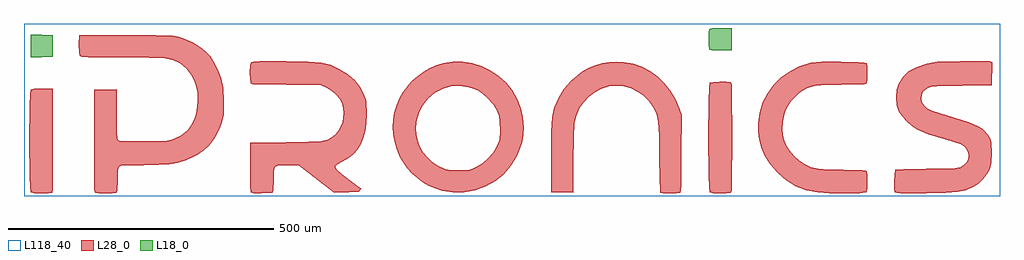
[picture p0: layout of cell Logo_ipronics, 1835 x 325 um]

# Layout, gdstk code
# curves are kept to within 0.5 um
import gdstk
lib = gdstk.Library(unit=1e-6, precision=1e-09)
def R(c, l, rs):  # rectangles x0, y0, x1, y1
    for r in rs: c.add(gdstk.rectangle(r[:2], r[2:], *l))
def P(c, l, *ps):  # polygons
    for p in ps: c.add(gdstk.Polygon(p, *l))
L18_0 = (18, 0)
L28_0 = (28, 0)
L118_40 = (118, 40)

logo_ipronics = lib.new_cell('Logo_ipronics')
P(logo_ipronics, L18_0, [(574.976,74.464),(557.807,74.571),(554.508,75.371),(553.19,76.829),(552.156,96.29),(553.6,114.582),(555.334,115.63),(559.232,116.248),(595.654,115.859),(595.654,74.961)],
  [(-722.729,61.514),(-722.729,104.414),(-701.844,103.91),(-680.951,103.413),(-680.951,62.515),(-701.844,62.018)],
  [(574.976,74.464),(557.807,74.571),(554.508,75.371),(553.19,76.829),(552.156,96.29),(553.6,114.582),(555.334,115.63),(559.232,116.248),(595.654,115.859),(595.654,74.961)])
P(logo_ipronics, L28_0, [(-288.826,-194.404),(-302.723,-193.846),(-308.273,-191.964),(-309.705,-179.458),(-309.348,-99.282),(-199.631,-97.542),(-176.34,-96.15),(-163.968,-93.16),(-154.567,-87.596),(-148.344,-82.368),(-143.156,-75.957),(-139.05,-68.585),(-136.107,-60.461),(-134.366,-51.819),(-133.91,-42.861),(-134.783,-33.822),(-137.054,-24.905),(-141.295,-16.592),(-147.995,-8.441),(-156.408,-1.19),(-165.823,4.408),(-175.997,9.179),(-293.194,10.59),(-304.772,11.342),(-308.824,12.371),(-310.209,32.517),(-309.671,47.073),(-307.662,52.657),(-303.267,53.632),(-291.944,54.176),(-242.323,54.082),(-200.666,53.356),(-176.004,51.548),(-159.466,47.362),(-142.216,39.513),(-126.007,30.011),(-113.051,18.856),(-102.87,5.557),(-95.008,-10.383),(-92.803,-16.754),(-91.547,-23.185),(-90.908,-44.165),(-91.567,-62.04),(-93.516,-76.844),(-96.996,-89.773),(-102.238,-101.997),(-108.239,-111.942),(-115.537,-120.282),(-124.535,-127.385),(-146.126,-139.414),(-148.814,-141.874),(-149.822,-144.333),(-149.15,-147.001),(-146.819,-150.099),(-137.243,-158.445),(-101.176,-185.876),(-105.35,-191.38),(-151.677,-192.717),(-218.165,-141.067),(-254.285,-141.437),(-259.231,-142.424),(-262.504,-144.414),(-264.459,-147.76),(-265.427,-152.807),(-266.307,-188.221),(-267.16,-191.904),(-268.598,-193.322)],
  [(479.216,-194.343),(467.026,-194.128),(460.817,-193.221),(459.077,-85.237),(457.793,-59.278),(454.252,-45.374),(448.318,-32.559),(440.268,-21.068),(430.389,-11.129),(418.952,-2.991),(406.251,3.117),(392.549,6.954),(378.134,8.292),(364.116,6.867),(350.69,2.781),(338.157,-3.697),(326.82,-12.278),(316.996,-22.688),(308.992,-34.656),(303.119,-47.894),(299.678,-62.141),(298.415,-88.174),(297.837,-192.737),(256.052,-191.736),(256.308,-77.55),(257.934,-50.77),(259.674,-41.423),(262.255,-33.137),(270.581,-14.832),(280.177,1.733),(294.134,17.202),(304.779,26.785),(315.92,34.896),(327.546,41.536),(339.642,46.696),(352.202,50.372),(365.205,52.563),(378.638,53.262),(392.488,52.462),(410.088,49.203),(426.733,43.491),(442.256,35.474),(456.469,25.293),(469.204,13.103),(480.285,-0.955),(489.532,-16.734),(496.769,-34.085),(501.426,-47.72),(500.277,-176.958),(499.518,-188.886),(498.382,-192.898),(491.595,-193.92)],
  [(-702.784,-194.384),(-715.6,-193.725),(-722.373,-192.274),(-723.468,-183.107),(-724.745,-95.411),(-723.16,-7.957),(-722.03,1.021),(-715.29,2.432),(-680.951,2.062),(-680.582,-171.999),(-681.193,-187.832),(-682.268,-192.925),(-689.741,-194.148)],
  [(808.86,-194.222),(778.781,-193.832),(756.9,-192.495),(735.706,-188.08),(716.278,-180.514),(698.362,-169.667),(681.71,-155.414),(667.686,-139.871),(658.116,-123.286),(651.47,-107.729),(647.163,-92.818),(645.073,-78.027),(645.093,-62.833),(648.104,-42.424),(654.199,-23.286),(663.17,-5.659),(674.802,10.207),(688.887,24.07),(705.21,35.676),(723.562,44.788),(743.722,51.152),(765.307,52.758),(800.533,53.154),(833.737,52.422),(849.253,50.634),(850.503,43.397),(850.765,30.938),(850.127,18.721),(848.662,12.203),(845.242,11.215),(836.794,10.55),(762.545,9.474),(752.989,8.406),(745.524,6.544),(736.848,3.198),(728.562,-1.291),(720.807,-6.802),(713.691,-13.212),(707.34,-20.396),(701.884,-28.238),(697.428,-36.605),(694.109,-45.381),(691.179,-59.809),(690.796,-74.734),(692.906,-89.256),(697.455,-102.481),(703.826,-113.226),(712.414,-123.629),(722.333,-132.761),(732.688,-139.676),(744.569,-145.072),(757.861,-148.184),(776.805,-149.608),(841.411,-150.442),(847.714,-151.288),(849.717,-152.766),(850.725,-160.864),(850.786,-173.666),(850.053,-185.903),(848.662,-192.274),(835.908,-193.691)],
  [(572.826,-194.397),(560.596,-193.664),(554.225,-192.274),(553.21,-182.684),(551.914,-89.504),(553.21,3.675),(554.225,13.264),(560.596,14.662),(585.634,15.328),(593.725,14.32),(595.231,10.637),(596.077,-3.435),(596.541,-89.504),(596.077,-175.568),(595.231,-189.639),(593.725,-193.322),(585.634,-194.33)],
  [(71.42,-192.388),(51.099,-189.041),(38.425,-184.962),(26.295,-179.559),(14.824,-172.92),(4.153,-165.165),(-5.604,-156.389),(-14.307,-146.685),(-21.847,-136.175),(-28.083,-124.939),(-34.084,-110.794),(-38.371,-96.876),(-40.958,-83.134),(-41.825,-69.499),(-40.992,-55.918),(-38.445,-42.317),(-34.192,-28.642),(-28.224,-14.825),(-21.665,-3.213),(-13.353,8.11),(84.108,8.11),(67.549,6.928),(51.845,2.371),(37.457,-5.229),(24.85,-15.578),(14.488,-28.359),(6.841,-43.264),(2.372,-59.984),(1.411,-74.364),(2.957,-88.268),(6.868,-101.459),(13.003,-113.71),(21.215,-124.784),(31.362,-134.454),(43.304,-142.485),(56.892,-148.647),(67.865,-151.053),(84.773,-151.214),(102.655,-149.742),(115.886,-144.615),(127.418,-137.62),(137.901,-128.642),(146.872,-118.125),(153.888,-106.533),(159.036,-93.395),(160.628,-76.998),(159.916,-57.88),(158.303,-49.487),(155.776,-41.678),(152.282,-34.32),(147.759,-27.257),(135.415,-13.454),(127.485,-6.667),(119.549,-1.466),(110.954,2.512),(101.048,5.63),(84.108,8.11),(-13.353,8.11),(-4.818,17.498),(5.221,26.409),(16.182,34.224),(27.942,40.843),(40.374,46.179),(53.357,50.13),(71.494,52.966),(89.9,52.866),(108.172,50.003),(125.886,44.533),(142.625,36.61),(157.98,26.409),(171.535,14.084),(182.871,-0.209),(192.501,-16.935),(199.181,-33.789),(203.052,-51.288),(204.281,-69.942),(203.569,-84.202),(201.331,-97.313),(197.319,-110.29),(191.285,-124.173),(180.56,-142.391),(167.375,-157.921),(151.664,-170.81),(133.372,-181.125),(113.34,-188.349),(92.427,-192.132)],
  [(913.638,-194.155),(905.432,-193.389),(902.456,-191.864),(900.782,-185.621),(901.105,-170.333),(903.248,-149.944),(919.175,-148.634),(1011.084,-147.572),(1020.694,-146.544),(1026.332,-144.682),(1032.582,-140.778),(1037.091,-135.745),(1039.853,-129.946),(1040.868,-123.756),(1040.128,-117.52),(1037.615,-111.6),(1033.328,-106.365),(1027.26,-102.172),(965.516,-82.784),(943.212,-73.477),(933.912,-67.349),(924.329,-58.76),(915.869,-49.151),(909.948,-39.931),(905.957,-28.95),(905.137,-13.985),(906.017,0.96),(909.807,12.122),(917.65,24.722),(928.67,34.896),(943.421,43.041),(962.458,49.546),(971.322,51.528),(982.457,52.765),(1026.413,54.075),(1081.14,53.759),(1085.596,52.644),(1084.601,9.179),(981.12,6.847),(970.959,5.745),(965.133,4.058),(959.146,0.725),(955.12,-3.455),(952.849,-8.79),(952.136,-15.591),(953.212,-23.192),(957.439,-29.622),(962.707,-34.273),(971.611,-38.661),(1041.593,-60.898),(1059.858,-68.84),(1066.37,-72.966),(1071.578,-77.435),(1079.427,-88.16),(1082.29,-93.819),(1083.835,-99.128),(1084.554,-117.95),(1083.761,-136.47),(1080.462,-148.533),(1075.166,-158.674),(1067.916,-167.934),(1059.159,-175.83),(1049.368,-181.864),(1035.149,-188.013),(1020.096,-191.474),(997.577,-193.147)],
  [(-582.261,-194.343),(-601.4,-192.932),(-602.468,-187.872),(-603.086,-172.174),(-602.717,0.288),(-560.932,1.29),(-560.932,-44.655),(-559.736,-89.921),(-558.654,-93.718),(-556.114,-95.391),(-549.266,-96.258),(-508.428,-96.278),(-465.246,-95.19),(-456.933,-93.711),(-440.664,-85.902),(-433.024,-80.513),(-426.599,-74.163),(-420.632,-66.206),(-415.142,-55.972),(-411.197,-44.346),(-408.818,-31.786),(-407.992,-18.75),(-408.724,-5.679),(-411.016,6.954),(-414.866,18.708),(-420.289,29.124),(-429.731,41.092),(-440.785,50.016),(-453.869,56.152),(-469.419,59.767),(-499.652,61.044),(-614.531,62.092),(-626.15,62.858),(-630.121,64.108),(-631.526,70.646),(-631.163,103.413),(-487.019,103.212),(-455.119,101.747),(-444.851,100.141),(-436.39,97.728),(-418.905,89.866),(-409.248,84.496),(-400.432,78.26),(-392.435,71.137),(-385.244,63.114),(-378.847,54.169),(-373.236,44.284),(-368.384,33.438),(-364.278,21.624),(-360.212,3.843),(-359.278,-21.048),(-359.876,-45.408),(-363.29,-61.052),(-367.927,-73.699),(-373.585,-85.197),(-380.298,-95.566),(-388.087,-104.846),(-396.991,-113.058),(-407.024,-120.242),(-418.226,-126.411),(-430.618,-131.612),(-446.033,-136.524),(-461.503,-139.394),(-481.401,-140.731),(-546.981,-141.571),(-553.432,-142.552),(-556.214,-144.313),(-557.693,-146.866),(-558.587,-151.248),(-559.675,-188.302),(-560.536,-191.917),(-561.967,-193.328)],
  [(-288.826,-194.404),(-302.723,-193.846),(-308.273,-191.964),(-309.705,-179.458),(-309.348,-99.282),(-199.631,-97.542),(-176.34,-96.15),(-163.968,-93.16),(-154.567,-87.596),(-148.344,-82.368),(-143.156,-75.957),(-139.05,-68.585),(-136.107,-60.461),(-134.366,-51.819),(-133.91,-42.861),(-134.783,-33.822),(-137.054,-24.905),(-141.295,-16.592),(-147.995,-8.441),(-156.408,-1.19),(-165.823,4.408),(-175.997,9.179),(-293.194,10.59),(-304.772,11.342),(-308.824,12.371),(-310.209,32.517),(-309.671,47.073),(-307.662,52.657),(-303.267,53.632),(-291.944,54.176),(-242.323,54.082),(-200.666,53.356),(-176.004,51.548),(-159.466,47.362),(-142.216,39.513),(-126.007,30.011),(-113.051,18.856),(-102.87,5.557),(-95.008,-10.383),(-92.803,-16.754),(-91.547,-23.185),(-90.908,-44.165),(-91.567,-62.04),(-93.516,-76.844),(-96.996,-89.773),(-102.238,-101.997),(-108.239,-111.942),(-115.537,-120.282),(-124.535,-127.385),(-146.126,-139.414),(-148.814,-141.874),(-149.822,-144.333),(-149.15,-147.001),(-146.819,-150.099),(-137.243,-158.445),(-101.176,-185.876),(-105.35,-191.38),(-151.677,-192.717),(-218.165,-141.067),(-254.285,-141.437),(-259.231,-142.424),(-262.504,-144.414),(-264.459,-147.76),(-265.427,-152.807),(-266.307,-188.221),(-267.16,-191.904),(-268.598,-193.322)],
  [(-702.784,-194.384),(-715.6,-193.725),(-722.373,-192.274),(-723.468,-183.107),(-724.745,-95.411),(-723.16,-7.957),(-722.03,1.021),(-715.29,2.432),(-680.951,2.062),(-680.582,-171.999),(-681.193,-187.832),(-682.268,-192.925),(-689.741,-194.148)],
  [(572.826,-194.397),(560.596,-193.664),(554.225,-192.274),(553.21,-182.684),(551.914,-89.504),(553.21,3.675),(554.225,13.264),(560.596,14.662),(585.634,15.328),(593.725,14.32),(595.231,10.637),(596.077,-3.435),(596.541,-89.504),(596.077,-175.568),(595.231,-189.639),(593.725,-193.322),(585.634,-194.33)],
  [(71.42,-192.388),(51.099,-189.041),(38.425,-184.962),(26.295,-179.559),(14.824,-172.92),(4.153,-165.165),(-5.604,-156.389),(-14.307,-146.685),(-21.847,-136.175),(-28.083,-124.939),(-34.084,-110.794),(-38.371,-96.876),(-40.958,-83.134),(-41.825,-69.499),(-40.992,-55.918),(-38.445,-42.317),(-34.192,-28.642),(-28.224,-14.825),(-21.665,-3.213),(-13.353,8.11),(84.108,8.11),(67.549,6.928),(51.845,2.371),(37.457,-5.229),(24.85,-15.578),(14.488,-28.359),(6.841,-43.264),(2.372,-59.984),(1.411,-74.364),(2.957,-88.268),(6.868,-101.459),(13.003,-113.71),(21.215,-124.784),(31.362,-134.454),(43.304,-142.485),(56.892,-148.647),(67.865,-151.053),(84.773,-151.214),(102.655,-149.742),(115.886,-144.615),(127.418,-137.62),(137.901,-128.642),(146.872,-118.125),(153.888,-106.533),(159.036,-93.395),(160.628,-76.998),(159.916,-57.88),(158.303,-49.487),(155.776,-41.678),(152.282,-34.32),(147.759,-27.257),(135.415,-13.454),(127.485,-6.667),(119.549,-1.466),(110.954,2.512),(101.048,5.63),(84.108,8.11),(-13.353,8.11),(-4.818,17.498),(5.221,26.409),(16.182,34.224),(27.942,40.843),(40.374,46.179),(53.357,50.13),(71.494,52.966),(89.9,52.866),(108.172,50.003),(125.886,44.533),(142.625,36.61),(157.98,26.409),(171.535,14.084),(182.871,-0.209),(192.501,-16.935),(199.181,-33.789),(203.052,-51.288),(204.281,-69.942),(203.569,-84.202),(201.331,-97.313),(197.319,-110.29),(191.285,-124.173),(180.56,-142.391),(167.375,-157.921),(151.664,-170.81),(133.372,-181.125),(113.34,-188.349),(92.427,-192.132)],
  [(808.86,-194.222),(778.781,-193.832),(756.9,-192.495),(735.706,-188.08),(716.278,-180.514),(698.362,-169.667),(681.71,-155.414),(667.686,-139.871),(658.116,-123.286),(651.47,-107.729),(647.163,-92.818),(645.073,-78.027),(645.093,-62.833),(648.104,-42.424),(654.199,-23.286),(663.17,-5.659),(674.802,10.207),(688.887,24.07),(705.21,35.676),(723.562,44.788),(743.722,51.152),(765.307,52.758),(800.533,53.154),(833.737,52.422),(849.253,50.634),(850.503,43.397),(850.765,30.938),(850.127,18.721),(848.662,12.203),(845.242,11.215),(836.794,10.55),(762.545,9.474),(752.989,8.406),(745.524,6.544),(736.848,3.198),(728.562,-1.291),(720.807,-6.802),(713.691,-13.212),(707.34,-20.396),(701.884,-28.238),(697.428,-36.605),(694.109,-45.381),(691.179,-59.809),(690.796,-74.734),(692.906,-89.256),(697.455,-102.481),(703.826,-113.226),(712.414,-123.629),(722.333,-132.761),(732.688,-139.676),(744.569,-145.072),(757.861,-148.184),(776.805,-149.608),(841.411,-150.442),(847.714,-151.288),(849.717,-152.766),(850.725,-160.864),(850.786,-173.666),(850.053,-185.903),(848.662,-192.274),(835.908,-193.691)],
  [(479.216,-194.343),(467.026,-194.128),(460.817,-193.221),(459.077,-85.237),(457.793,-59.278),(454.252,-45.374),(448.318,-32.559),(440.268,-21.068),(430.389,-11.129),(418.952,-2.991),(406.251,3.117),(392.549,6.954),(378.134,8.292),(364.116,6.867),(350.69,2.781),(338.157,-3.697),(326.82,-12.278),(316.996,-22.688),(308.992,-34.656),(303.119,-47.894),(299.678,-62.141),(298.415,-88.174),(297.837,-192.737),(256.052,-191.736),(256.308,-77.55),(257.934,-50.77),(259.674,-41.423),(262.255,-33.137),(270.581,-14.832),(280.177,1.733),(294.134,17.202),(304.779,26.785),(315.92,34.896),(327.546,41.536),(339.642,46.696),(352.202,50.372),(365.205,52.563),(378.638,53.262),(392.488,52.462),(410.088,49.203),(426.733,43.491),(442.256,35.474),(456.469,25.293),(469.204,13.103),(480.285,-0.955),(489.532,-16.734),(496.769,-34.085),(501.426,-47.72),(500.277,-176.958),(499.518,-188.886),(498.382,-192.898),(491.595,-193.92)],
  [(913.638,-194.155),(905.432,-193.389),(902.456,-191.864),(900.782,-185.621),(901.105,-170.333),(903.248,-149.944),(919.175,-148.634),(1011.084,-147.572),(1020.694,-146.544),(1026.332,-144.682),(1032.582,-140.778),(1037.091,-135.745),(1039.853,-129.946),(1040.868,-123.756),(1040.128,-117.52),(1037.615,-111.6),(1033.328,-106.365),(1027.26,-102.172),(965.516,-82.784),(943.212,-73.477),(933.912,-67.349),(924.329,-58.76),(915.869,-49.151),(909.948,-39.931),(905.957,-28.95),(905.137,-13.985),(906.017,0.96),(909.807,12.122),(917.65,24.722),(928.67,34.896),(943.421,43.041),(962.458,49.546),(971.322,51.528),(982.457,52.765),(1026.413,54.075),(1081.14,53.759),(1085.596,52.644),(1084.601,9.179),(981.12,6.847),(970.959,5.745),(965.133,4.058),(959.146,0.725),(955.12,-3.455),(952.849,-8.79),(952.136,-15.591),(953.212,-23.192),(957.439,-29.622),(962.707,-34.273),(971.611,-38.661),(1041.593,-60.898),(1059.858,-68.84),(1066.37,-72.966),(1071.578,-77.435),(1079.427,-88.16),(1082.29,-93.819),(1083.835,-99.128),(1084.554,-117.95),(1083.761,-136.47),(1080.462,-148.533),(1075.166,-158.674),(1067.916,-167.934),(1059.159,-175.83),(1049.368,-181.864),(1035.149,-188.013),(1020.096,-191.474),(997.577,-193.147)],
  [(-582.261,-194.343),(-601.4,-192.932),(-602.468,-187.872),(-603.086,-172.174),(-602.717,0.288),(-560.932,1.29),(-560.932,-44.655),(-559.736,-89.921),(-558.654,-93.718),(-556.114,-95.391),(-549.266,-96.258),(-508.428,-96.278),(-465.246,-95.19),(-456.933,-93.711),(-440.664,-85.902),(-433.024,-80.513),(-426.599,-74.163),(-420.632,-66.206),(-415.142,-55.972),(-411.197,-44.346),(-408.818,-31.786),(-407.992,-18.75),(-408.724,-5.679),(-411.016,6.954),(-414.866,18.708),(-420.289,29.124),(-429.731,41.092),(-440.785,50.016),(-453.869,56.152),(-469.419,59.767),(-499.652,61.044),(-614.531,62.092),(-626.15,62.858),(-630.121,64.108),(-631.526,70.646),(-631.163,103.413),(-487.019,103.212),(-455.119,101.747),(-444.851,100.141),(-436.39,97.728),(-418.905,89.866),(-409.248,84.496),(-400.432,78.26),(-392.435,71.137),(-385.244,63.114),(-378.847,54.169),(-373.236,44.284),(-368.384,33.438),(-364.278,21.624),(-360.212,3.843),(-359.278,-21.048),(-359.876,-45.408),(-363.29,-61.052),(-367.927,-73.699),(-373.585,-85.197),(-380.298,-95.566),(-388.087,-104.846),(-396.991,-113.058),(-407.024,-120.242),(-418.226,-126.411),(-430.618,-131.612),(-446.033,-136.524),(-461.503,-139.394),(-481.401,-140.731),(-546.981,-141.571),(-553.432,-142.552),(-556.214,-144.313),(-557.693,-146.866),(-558.587,-151.248),(-559.675,-188.302),(-560.536,-191.917),(-561.967,-193.328)])
R(logo_ipronics, L118_40, [(-735,-200,1100,125), (-735,-200,1100,125)])

lib.write_gds('Logo_ipronics.gds')
